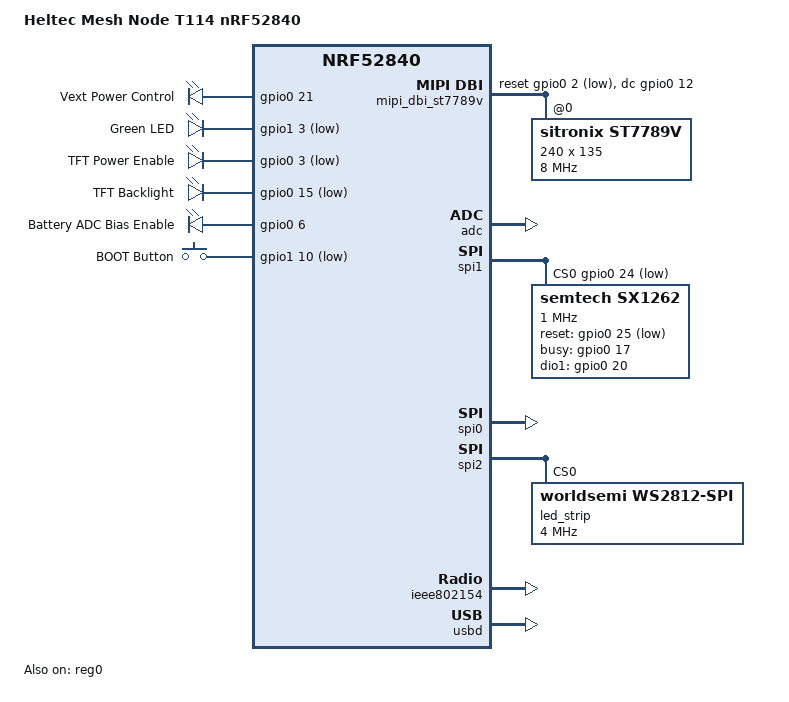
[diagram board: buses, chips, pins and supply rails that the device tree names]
/*
 * Copyright (c) 2026 Bruce Fitzsimons
 * SPDX-License-Identifier: Apache-2.0
 *
 * Heltec Mesh Node T114 V2 (HT-n5262)
 * ===================================
 * Product:   https://heltec.org/project/mesh-node-t114/
 * Schematic: https://resource.heltec.cn/download/Mesh_Node_T114/schematic/MeshNode-T114_V2.1.pdf
 * Arduino:   https://github.com/HelTecAutomation/Heltec_nRF52
 *
 * Hardware
 *   MCU      nRF52840 QIAA, 1 MB flash, 256 KB SRAM
 *   LoRa     SX1262, DIO2 RF switch, DIO3 TCXO 1.8 V
 *   Display  ST7789V 1.14" 240x135 RGB565 (optional)
 *   GPS      L76K GNSS on UART1 (optional, GPS-equipped variant)
 *   USB      Type-C, ESD protected, used for serial console + UF2 DFU
 *   Battery  LiPo via 100k/390k divider on AIN2 (P0.04)
 *   LEDs     Green LED (P1.03) + 2x SK6812 NeoPixel chain (P0.14)
 *   Button   BOOT (P1.10, active low)
 *
 * Bootloader (read-only from app): Adafruit nRF52 UF2 at 0xF4000-0x100000.
 * Application code partition starts at 0x26000 (above SoftDevice S140).
 * Both addresses are baked into every shipped Adafruit bootloader and must
 * never be changed without a coordinated bootloader re-flash via SWD.
 */

/dts-v1/;
#include <nordic/nrf52840_qiaa.dtsi>
#include "heltec_mesh_node_t114_nrf52840-pinctrl.dtsi"
#include <zephyr/dt-bindings/input/input-event-codes.h>
#include <zephyr/dt-bindings/led/led.h>
#include <zephyr/dt-bindings/lora/sx126x.h>

/ {
	model = "Heltec Mesh Node T114 nRF52840";
	compatible = "heltec,mesh-node-t114-nrf52840";

	chosen {
		zephyr,sram = &sram0;
		zephyr,flash = &flash0;
		zephyr,code-partition = &code_partition;
		zephyr,ieee802154 = &ieee802154;
	};

	leds {
		compatible = "gpio-leds";

		vext_pin: vext_pin {
			gpios = <&gpio0 21 GPIO_ACTIVE_HIGH>;
			label = "Vext Power Control";
		};

		green_led: green_led {
			gpios = <&gpio1 3 GPIO_ACTIVE_LOW>;
			label = "Green LED";
		};

		tft_en: tft_en {
			gpios = <&gpio0 3 GPIO_ACTIVE_LOW>;
			label = "TFT Power Enable";
		};

		backlight: backlight {
			gpios = <&gpio0 15 GPIO_ACTIVE_LOW>;
			label = "TFT Backlight";
		};

		adc_ctrl: adc_ctrl {
			gpios = <&gpio0 6 GPIO_ACTIVE_HIGH>;
			label = "Battery ADC Bias Enable";
		};
	};

	buttons {
		compatible = "gpio-keys";

		boot_button: boot_button {
			gpios = <&gpio1 10 (GPIO_ACTIVE_LOW | GPIO_PULL_UP)>;
			label = "BOOT Button";
			zephyr,code = <INPUT_KEY_0>;
		};
	};

	aliases {
		led0 = &green_led;
		sw0 = &boot_button;
		mcuboot-button0 = &boot_button;
		mcuboot-led0 = &green_led;
		watchdog0 = &wdt0;
		vext = &vext_pin;
		backlight = &backlight;
		adc-ctrl = &adc_ctrl;
		lora0 = &sx1262;
		led-strip = &led_strip;
	};
};

&reg0 {
	status = "okay";
};

&reg1 {
	regulator-initial-mode = <NRF5X_REG_MODE_DCDC>;
};

&adc {
	status = "okay";
};

&uicr {
	gpio-as-nreset;
};

&gpiote {
	status = "okay";
};

&gpio0 {
	status = "okay";
};

&gpio1 {
	status = "okay";
};

/*
 * UART1 -> L76K GNSS (only populated on GPS-equipped variant). Marked
 * disabled by default so a non-GPS board does not waste current on the
 * peripheral; applications/overlays can re-enable as needed.
 */
&uart1 {
	compatible = "nordic,nrf-uarte";
	status = "disabled";
	current-speed = <9600>;
	pinctrl-0 = <&uart1_default>;
	pinctrl-1 = <&uart1_sleep>;
	pinctrl-names = "default", "sleep";
};

&i2c0 {
	compatible = "nordic,nrf-twi";
	status = "disabled"; /* RTC footprint, unpopulated on V2 */
	pinctrl-0 = <&i2c0_default>;
	pinctrl-1 = <&i2c0_sleep>;
	pinctrl-names = "default", "sleep";
};

&i2c1 {
	compatible = "nordic,nrf-twi";
	status = "disabled"; /* available on header, off until used */
	pinctrl-0 = <&i2c1_default>;
	pinctrl-1 = <&i2c1_sleep>;
	pinctrl-names = "default", "sleep";
};

/*
 * SPI1 -> SX1262 LoRa
 *   SCK   P0.19   MOSI  P0.22   MISO  P0.23
 *   CS    P0.24   DIO1  P0.20   BUSY  P0.17   RESET P0.25
 *   DIO2 -> internal RF switch, DIO3 -> TCXO 1.8 V
 */
&spi1 {
	compatible = "nordic,nrf-spim";
	status = "okay";
	pinctrl-0 = <&spi1_default>;
	pinctrl-1 = <&spi1_sleep>;
	pinctrl-names = "default", "sleep";
	cs-gpios = <&gpio0 24 GPIO_ACTIVE_LOW>;

	sx1262: sx1262@0 {
		compatible = "semtech,sx1262";
		reg = <0>;
		spi-max-frequency = <1000000>;
		reset-gpios = <&gpio0 25 GPIO_ACTIVE_LOW>;
		busy-gpios = <&gpio0 17 GPIO_ACTIVE_HIGH>;
		dio1-gpios = <&gpio0 20 GPIO_ACTIVE_HIGH>;
		dio2-tx-enable;
		dio3-tcxo-voltage = <SX126X_DIO3_TCXO_1V8>;
		tcxo-power-startup-delay-ms = <5>;
	};
};

/*
 * SPI0 -> ST7789V TFT (240x135 landscape)
 *   SCK P1.08, MOSI P1.09, CS P0.11, DC P0.12, RESET P0.02
 *   Backlight P0.15 (active LOW), TFT power enable P0.03 (active LOW)
 */
&spi0 {
	compatible = "nordic,nrf-spim";
	status = "okay";
	pinctrl-0 = <&spi0_default>;
	pinctrl-1 = <&spi0_sleep>;
	pinctrl-names = "default", "sleep";
	cs-gpios = <&gpio0 11 GPIO_ACTIVE_LOW>;
};

/*
 * Zephyr 3.7 moved the ST7789V driver under the MIPI DBI API. The
 * display node is now a child of a `zephyr,mipi-dbi-spi` wrapper which
 * owns DC + RESET; the inner node owns the controller-specific timing.
 */
/ {
	mipi_dbi_st7789v {
		compatible = "zephyr,mipi-dbi-spi";
		spi-dev = <&spi0>;
		/*
		 * dc-gpios polarity is GPIO_ACTIVE_HIGH for the v3.7 mipi-dbi-spi
		 * driver — it writes 0 for command, 1 for data per the binding
		 * ("Set to low when sending a command, or high when sending data").
		 * The legacy v2.6 ST7789V driver was the opposite (wrote 1 for
		 * command), so the same physical pin needed GPIO_ACTIVE_LOW back
		 * then; carrying that flag verbatim into the MIPI DBI rewrite
		 * inverted DC, the chip read every command as data, init silently
		 * did nothing, and the display stayed blank.
		 */
		dc-gpios = <&gpio0 12 GPIO_ACTIVE_HIGH>;
		reset-gpios = <&gpio0 2 GPIO_ACTIVE_LOW>;
		write-only;
		#address-cells = <1>;
		#size-cells = <0>;

		st7789v: st7789v@0 {
			compatible = "sitronix,st7789v";
			reg = <0>;
			mipi-max-frequency = <8000000>;
			mipi-mode = "MIPI_DBI_MODE_SPI_4WIRE";
			width = <240>;
			height = <135>;
			x-offset = <40>;
			y-offset = <53>;
			vcom = <0x19>;
			gctrl = <0x35>;
			vrhs = <0x12>;
			vdvs = <0x20>;
			mdac = <0x60>;        /* 90-degree rotation */
			gamma = <0x01>;
			colmod = <0x55>;      /* RGB565 */
			lcm = <0x2c>;
			porch-param = [0c 0c 00 33 33];
			cmd2en-param = [5a 69 02 01];
			pwctrl1-param = [a4 a1];
			pvgam-param = [D0 04 0D 11 13 2B 3F 54 4C 18 0D 0B 1F 23];
			nvgam-param = [D0 04 0C 11 13 2C 3F 44 51 2F 1F 1F 20 23];
			ram-param = [00 F0];
			rgb-param = [CD 08 14];
		};
	};
};

/*
 * SPI2 -> WS2812/SK6812 NeoPixel chain (2 pixels, GRB at 800 kHz).
 * The nRF SPIM peripheral mandates an SCK pin; the dummy SCK is routed
 * to the unpopulated UART2 RX pad (P0.09).
 *
 * NeoPixel power is gated by Vext (P0.21) — drive vext_pin high before
 * sending data.
 */
&spi2 {
	compatible = "nordic,nrf-spim";
	status = "okay";
	pinctrl-0 = <&spi2_default>;
	pinctrl-1 = <&spi2_sleep>;
	pinctrl-names = "default", "sleep";

	led_strip: ws2812@0 {
		compatible = "worldsemi,ws2812-spi";
		reg = <0>;
		spi-max-frequency = <4000000>;
		chain-length = <2>;
		color-mapping = <LED_COLOR_ID_GREEN
				 LED_COLOR_ID_RED
				 LED_COLOR_ID_BLUE>;
		spi-one-frame = <0x70>;
		spi-zero-frame = <0x40>;
	};
};

/*
 * QSPI: the T114 V2 schematic exposes pins for an external QSPI flash
 * (MX25R16 footprint), but production V2 boards do not populate it.
 * Keep QSPI disabled — leaving it enabled would also cause pin
 * conflicts with our SPI1 (SX1262) on P0.19/22/23 and SX1262 BUSY on
 * P0.17, both of which the nRF52840 DK board pinctrl reserves for QSPI.
 */
&qspi {
	status = "disabled";
};

&ieee802154 {
	status = "okay";
};

zephyr_udc0: &usbd {
	compatible = "nordic,nrf-usbd";
	status = "okay";
};

/*
 * Flash partition map — Heltec Mesh Node T114 (1 MB nRF52840)
 *
 * Verified against the Adafruit nRF52 bootloader linker script and
 * recovered SWD flash dumps.
 *
 *   0x00000  +-------------------------------+
 *            | MBR + SoftDevice S140 (152K) | read-only
 *   0x26000  +-------------------------------+
 *            | Application       (752 KB)    | code_partition
 *   0xE2000  +-------------------------------+
 *            | FATFS Storage      (64 KB)    | tinygs_storage
 *   0xF2000  +-------------------------------+
 *            | NVS Settings        (8 KB)    | storage_partition
 *   0xF4000  +-------------------------------+
 *            | Adafruit Bootloader (48 KB)   | read-only
 *   0x100000 +-------------------------------+
 *
 * CRITICAL: any write at or above 0xF4000 will brick the device — the
 * Adafruit UF2 bootloader lives there and is the only path to recovery
 * without SWD. Likewise the SoftDevice region (0..0x26000) is preserved
 * even though we don't use the SoftDevice; relocating code_partition
 * downward would also brick existing devices because the bootloader
 * jumps to 0x26000.
 */
&flash0 {
	partitions {
		compatible = "fixed-partitions";
		#address-cells = <1>;
		#size-cells = <1>;

		boot_partition: partition@0 {
			label = "softdevice";
			reg = <0x00000000 0x00026000>;
			read-only;
		};

		code_partition: partition@26000 {
			label = "code_slot";
			reg = <0x00026000 0x000bc000>;
		};

		/*
		 * 64 KB FATFS — exposed over USB MSC as the configurator drive.
		 * Must be >=128 sectors (64 KB at 512 B/sector) so that the
		 * FatFs auto-format path will produce a valid FS.
		 */
		tinygs_storage: partition@e2000 {
			label = "tinygs_storage";
			reg = <0x000e2000 0x00010000>;
		};

		/* 8 KB NVS — OpenThread network credentials + app settings. */
		storage_partition: partition@f2000 {
			label = "storage";
			reg = <0x000f2000 0x00002000>;
		};

		bootloader_partition: partition@f4000 {
			label = "adafruit_bootloader";
			reg = <0x000f4000 0x0000c000>;
			read-only;
		};
	};
};
